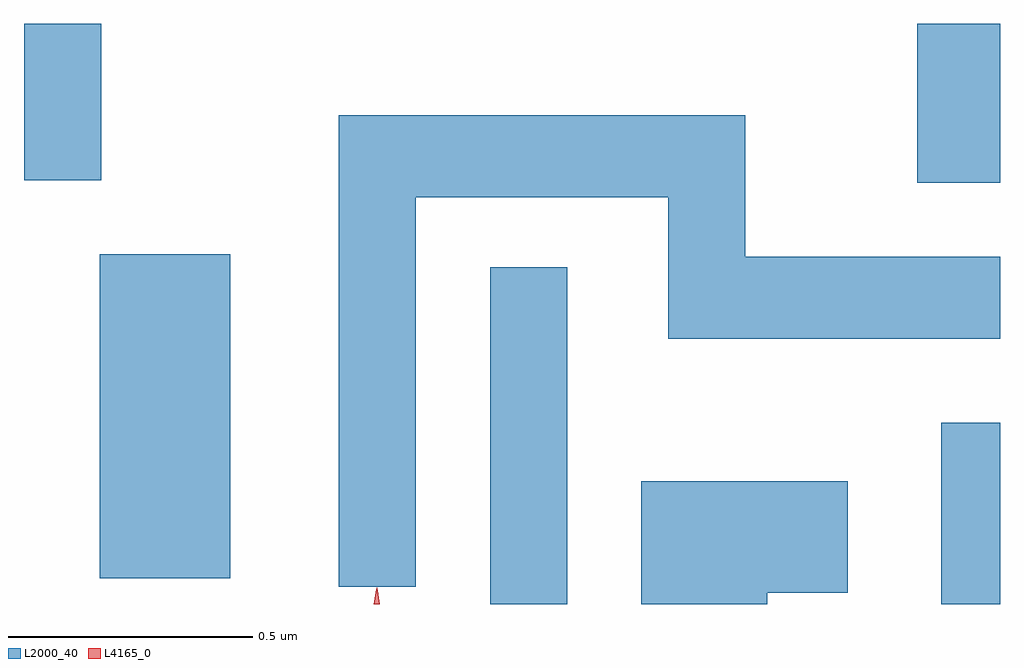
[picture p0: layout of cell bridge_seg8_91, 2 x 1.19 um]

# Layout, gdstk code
import gdstk
lib = gdstk.Library(unit=1e-6, precision=1e-09)
def R(c, l, rs):  # rectangles x0, y0, x1, y1
    for r in rs: c.add(gdstk.rectangle(r[:2], r[2:], *l))
def P(c, l, *ps):  # polygons
    for p in ps: c.add(gdstk.Polygon(p, *l))
L2000_40 = (2000, 40)
L4165_0 = (4165, 0)

bridge_seg8_91 = lib.new_cell('bridge_seg8_91')
R(bridge_seg8_91, L2000_40, [(1589.506,1806.342,1589.664,1807.033), (1590.431,1806.342,1590.551,1806.714), (1588.706,1806.396,1588.974,1807.059), (1590.381,1807.206,1590.551,1807.532), (1588.551,1807.211,1588.709,1807.532)])
P(bridge_seg8_91, L2000_40, [(1589.354,1807.176),(1589.871,1807.176),(1589.871,1806.886),(1590.551,1806.886),(1590.551,1807.054),(1590.029,1807.054),(1590.029,1807.344),(1589.196,1807.344),(1589.196,1806.378),(1589.354,1806.378)],
  [(1590.074,1806.366),(1590.239,1806.366),(1590.239,1806.594),(1589.816,1806.594),(1589.816,1806.342),(1590.074,1806.342)])
P(bridge_seg8_91, L4165_0, [(1589.268,1806.342),(1589.273,1806.372),(1589.273,1806.373),(1589.274,1806.372),(1589.278,1806.342)],
  [(1589.27,1806.342),(1589.274,1806.376),(1589.275,1806.376),(1589.28,1806.342)])

lib.write_gds('bridge_seg8_91.gds')
